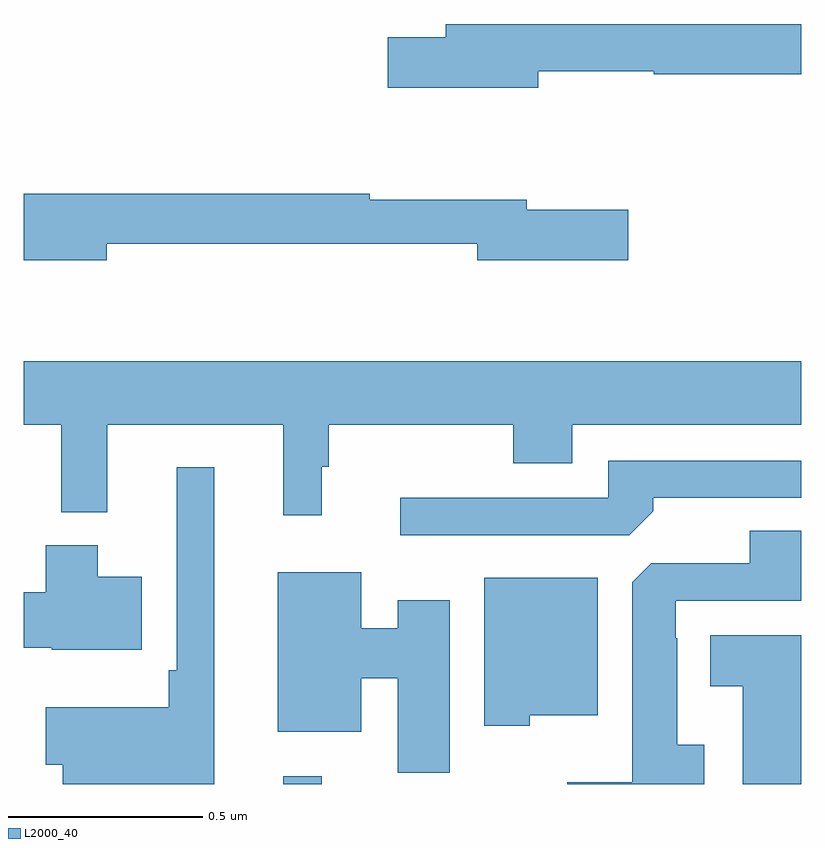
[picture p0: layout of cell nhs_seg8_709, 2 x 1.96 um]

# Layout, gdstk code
import gdstk
lib = gdstk.Library(unit=1e-6, precision=1e-09)
def R(c, l, rs):  # rectangles x0, y0, x1, y1
    for r in rs: c.add(gdstk.rectangle(r[:2], r[2:], *l))
def P(c, l, *ps):  # polygons
    for p in ps: c.add(gdstk.Polygon(p, *l))
L2000_40 = (2000, 40)

nhs_seg8_709 = lib.new_cell('nhs_seg8_709')
R(nhs_seg8_709, L2000_40, [(120.668,1124.9,120.767,1124.92)])
P(nhs_seg8_709, L2000_40, [(121.324,1126.734),(121.62,1126.734),(121.62,1126.726),(122,1126.726),(122,1126.855),(121.085,1126.855),(121.085,1126.821),(120.936,1126.821),(120.936,1126.691),(121.324,1126.691)],
  [(120.214,1126.29),(121.166,1126.29),(121.166,1126.247),(121.555,1126.247),(121.555,1126.377),(121.294,1126.377),(121.294,1126.403),(120.89,1126.403),(120.89,1126.418),(120,1126.418),(120,1126.247),(120.214,1126.247)],
  [(120.767,1125.716),(120.785,1125.716),(120.785,1125.824),(121.259,1125.824),(121.259,1125.725),(121.411,1125.725),(121.411,1125.824),(122,1125.824),(122,1125.988),(120,1125.988),(120,1125.824),(120.097,1125.824),(120.097,1125.599),(120.215,1125.599),(120.215,1125.824),(120.668,1125.824),(120.668,1125.591),(120.767,1125.591)],
  [(121.619,1125.602),(121.619,1125.636),(122,1125.636),(122,1125.732),(121.503,1125.732),(121.503,1125.636),(120.969,1125.636),(120.969,1125.54),(121.557,1125.54)],
  [(120.49,1125.715),(120.393,1125.715),(120.393,1125.193),(120.373,1125.193),(120.373,1125.097),(120.056,1125.097),(120.056,1124.95),(120.1,1124.95),(120.1,1124.9),(120.49,1124.9)],
  [(121.75,1125.001),(121.681,1125.001),(121.681,1125.275),(121.677,1125.275),(121.677,1125.372),(122,1125.372),(122,1125.551),(121.868,1125.551),(121.868,1125.468),(121.614,1125.468),(121.565,1125.419),(121.565,1124.905),(121.398,1124.905),(121.398,1124.9),(121.75,1124.9)],
  [(120.304,1125.433),(120.19,1125.433),(120.19,1125.514),(120.056,1125.514),(120.056,1125.393),(120,1125.393),(120,1125.251),(120.072,1125.251),(120.072,1125.245),(120.304,1125.245)],
  [(121.096,1125.373),(120.962,1125.373),(120.962,1125.301),(120.868,1125.301),(120.868,1125.445),(120.653,1125.445),(120.653,1125.035),(120.868,1125.035),(120.868,1125.172),(120.962,1125.172),(120.962,1124.929),(121.096,1124.929)],
  [(121.302,1125.077),(121.477,1125.077),(121.477,1125.43),(121.184,1125.43),(121.184,1125.05),(121.302,1125.05)],
  [(122,1125.283),(121.766,1125.283),(121.766,1125.152),(121.85,1125.152),(121.85,1124.9),(122,1124.9)])

lib.write_gds('nhs_seg8_709.gds')
